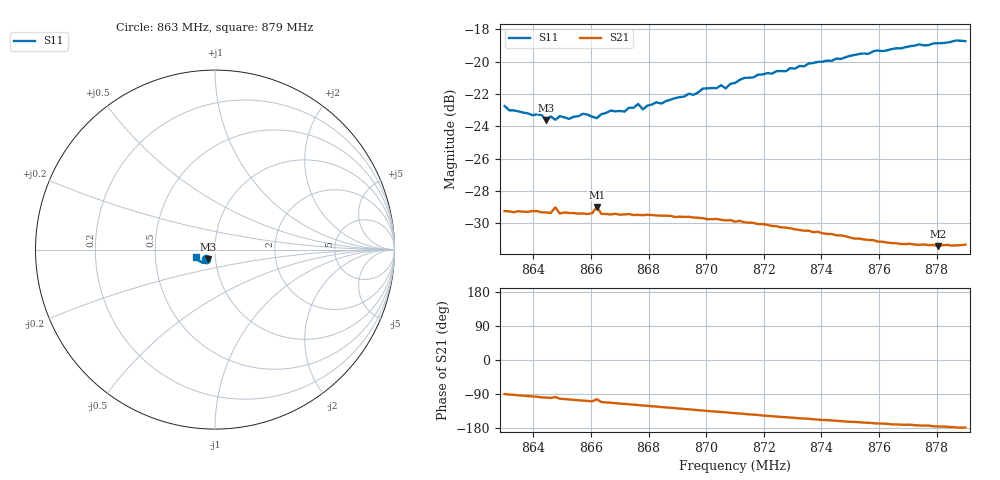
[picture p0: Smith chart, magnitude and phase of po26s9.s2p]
# HZ S RI R 50
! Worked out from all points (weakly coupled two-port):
!   101 points, 863 MHz to 879 MHz, reference 50 ohm
!   highest |S21| = -28.98 dB at 866.2 MHz (marker M1); lowest = -31.4 dB at 878.04 MHz (marker M2)
!   lowest |S11| = -23.6 dB at 864.44 MHz (marker M3), VSWR 1.14, Z = 46 - j4.92 ohm
!   |S11| at or under -10 dB: start of sweep to end of sweep
!   S12 and S22 are empty: the file has one direction only
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8.63e8  -0.0477 -0.0551  9.7e-05 -0.0345  0 0  0 0
8.6428e8  -0.0404 -0.0553  -0.00502 -0.0339  0 0  0 0
8.6444e8  -0.0391 -0.0533  -0.00548 -0.0337  0 0  0 0
8.646e8  -0.04 -0.0547  -0.00598 -0.0335  0 0  0 0
8.6476e8  -0.0336 -0.0569  -0.0048 -0.0351  0 0  0 0
8.6492e8  -0.039 -0.0556  -0.0072 -0.0331  0 0  0 0
8.6524e8  -0.0373 -0.0552  -0.0083 -0.033  0 0  0 0
8.6572e8  -0.0372 -0.0581  -0.01 -0.0324  0 0  0 0
8.6604e8  -0.0359 -0.0573  -0.0111 -0.0321  0 0  0 0
8.662e8  -0.0343 -0.0575  -0.00825 -0.0346  0 0  0 0
8.6636e8  -0.0377 -0.0576  -0.0121 -0.0316  0 0  0 0
8.6716e8  -0.0365 -0.0598  -0.0146 -0.0304  0 0  0 0
8.6764e8  -0.0387 -0.0631  -0.0162 -0.0294  0 0  0 0
8.678e8  -0.0374 -0.0606  -0.0168 -0.029  0 0  0 0
8.6844e8  -0.0378 -0.0638  -0.0188 -0.0276  0 0  0 0
8.6988e8  -0.0434 -0.0703  -0.0226 -0.0238  0 0  0 0
8.7068e8  -0.0453 -0.0691  -0.024 -0.0216  0 0  0 0
8.71e8  -0.0484 -0.071  -0.0246 -0.0205  0 0  0 0
8.7372e8  -0.0669 -0.0731  -0.0272 -0.0119  0 0  0 0
8.7644e8  -0.0904 -0.0615  -0.027 -0.00489  0 0  0 0
8.7804e8  -0.1027 -0.0495  -0.0268 -0.00211  0 0  0 0
8.79e8  -0.1081 -0.0415  -0.0272 -0.000798  0 0  0 0
